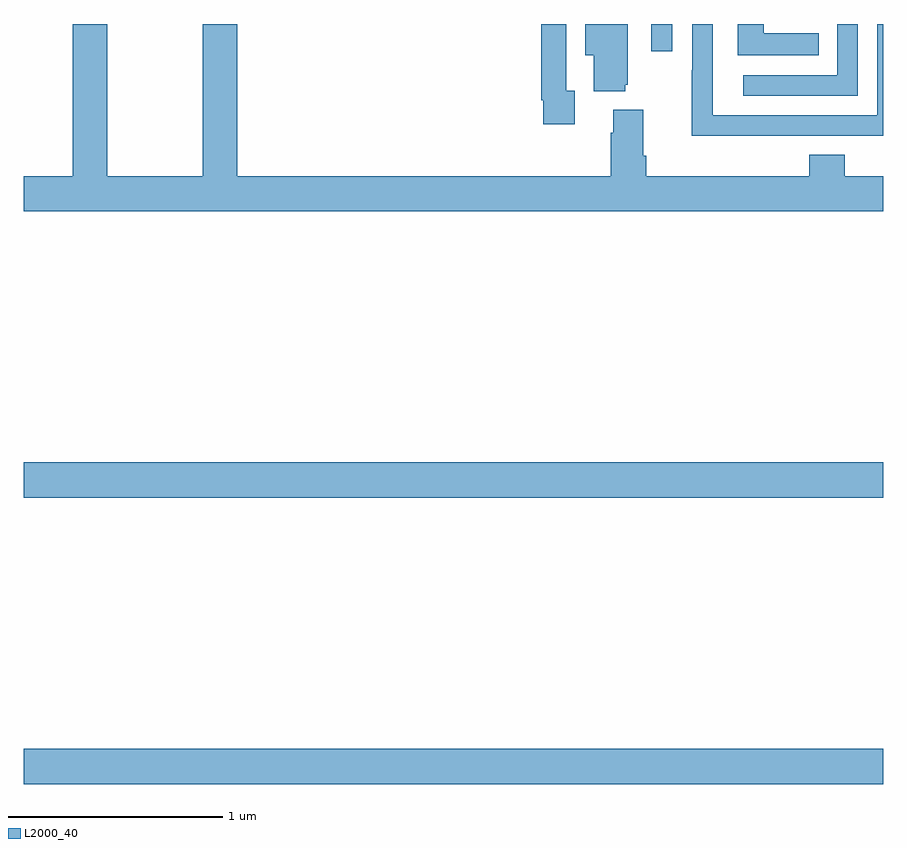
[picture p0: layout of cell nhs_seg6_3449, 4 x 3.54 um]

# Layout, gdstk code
import gdstk
lib = gdstk.Library(unit=1e-6, precision=1e-09)
def R(c, l, rs):  # rectangles x0, y0, x1, y1
    for r in rs: c.add(gdstk.rectangle(r[:2], r[2:], *l))
def P(c, l, *ps):  # polygons
    for p in ps: c.add(gdstk.Polygon(p, *l))
L2000_40 = (2000, 40)

nhs_seg6_3449 = lib.new_cell('nhs_seg6_3449')
R(nhs_seg6_3449, L2000_40, [(313,985.964,317,986.128), (313,987.296,317,987.46), (315.921,989.373,316.017,989.5)])
P(nhs_seg6_3449, L2000_40, [(317,988.792),(316.82,988.792),(316.82,988.891),(316.655,988.891),(316.655,988.792),(315.896,988.792),(315.896,988.888),(315.883,988.888),(315.883,989.101),(315.743,989.101),(315.743,988.994),(315.731,988.994),(315.731,988.792),(313.994,988.792),(313.994,989.5),(313.834,989.5),(313.834,988.792),(313.389,988.792),(313.389,989.5),(313.229,989.5),(313.229,988.792),(313,988.792),(313,988.628),(317,988.628)],
  [(316.881,989.5),(316.785,989.5),(316.785,989.262),(316.347,989.262),(316.347,989.166),(316.881,989.166)],
  [(316.571,988.98),(317,988.98),(317,989.5),(316.971,989.5),(316.971,989.076),(316.206,989.076),(316.206,989.5),(316.11,989.5),(316.11,989.285),(316.108,989.285),(316.108,988.979),(316.571,988.979)],
  [(316.7,989.458),(316.443,989.458),(316.443,989.5),(316.322,989.5),(316.322,989.354),(316.7,989.354)],
  [(315.8,989.217),(315.811,989.217),(315.811,989.5),(315.614,989.5),(315.614,989.354),(315.653,989.354),(315.653,989.186),(315.8,989.186)],
  [(315.565,989.19),(315.525,989.19),(315.525,989.5),(315.409,989.5),(315.409,989.146),(315.417,989.146),(315.417,989.034),(315.565,989.034)])

lib.write_gds('nhs_seg6_3449.gds')
